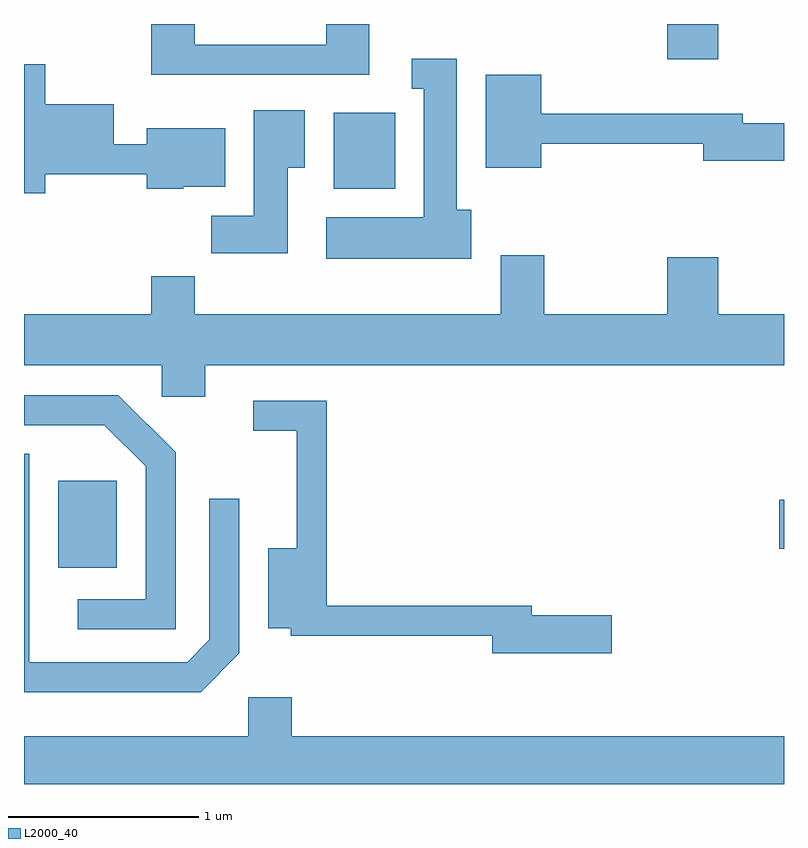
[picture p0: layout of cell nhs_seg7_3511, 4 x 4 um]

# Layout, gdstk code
import gdstk
lib = gdstk.Library(unit=1e-6, precision=1e-09)
def R(c, l, rs):  # rectangles x0, y0, x1, y1
    for r in rs: c.add(gdstk.rectangle(r[:2], r[2:], *l))
def P(c, l, *ps):  # polygons
    for p in ps: c.add(gdstk.Polygon(p, *l))
L2000_40 = (2000, 40)

nhs_seg7_3511 = lib.new_cell('nhs_seg7_3511')
R(nhs_seg7_3511, L2000_40, [(291.791,1795.391,292.099,1795.849), (295.586,1795.491,295.611,1795.749), (293.241,1797.386,293.564,1797.784), (294.996,1798.066,295.264,1798.252)])
P(nhs_seg7_3511, L2000_40, [(293.429,1798.252),(293.201,1798.252),(293.201,1798.144),(292.509,1798.144),(292.509,1798.252),(292.281,1798.252),(292.281,1797.986),(293.429,1797.986)],
  [(293.964,1797.274),(293.889,1797.274),(293.889,1798.069),(293.653,1798.069),(293.653,1797.911),(293.716,1797.911),(293.716,1797.234),(293.201,1797.234),(293.201,1797.016),(293.964,1797.016)],
  [(291.724,1797.461),(292.256,1797.461),(292.256,1797.386),(292.45,1797.386),(292.45,1797.396),(292.669,1797.396),(292.669,1797.704),(292.256,1797.704),(292.256,1797.619),(292.084,1797.619),(292.084,1797.829),(291.724,1797.829),(291.724,1798.039),(291.611,1798.039),(291.611,1797.361),(291.724,1797.361)],
  [(294.334,1797.621),(295.186,1797.621),(295.186,1797.531),(295.611,1797.531),(295.611,1797.729),(295.394,1797.729),(295.394,1797.779),(294.334,1797.779),(294.334,1797.984),(294.041,1797.984),(294.041,1797.496),(294.334,1797.496)],
  [(292.999,1797.496),(293.089,1797.496),(293.089,1797.799),(292.821,1797.799),(292.821,1797.244),(292.596,1797.244),(292.596,1797.046),(292.999,1797.046)],
  [(292.564,1796.456),(295.611,1796.456),(295.611,1796.724),(295.264,1796.724),(295.264,1797.024),(294.996,1797.024),(294.996,1796.724),(294.349,1796.724),(294.349,1797.034),(294.121,1797.034),(294.121,1796.724),(292.509,1796.724),(292.509,1796.924),(292.281,1796.924),(292.281,1796.724),(291.611,1796.724),(291.611,1796.456),(292.336,1796.456),(292.336,1796.291),(292.564,1796.291)],
  [(292.409,1795.997),(292.107,1796.299),(291.611,1796.299),(291.611,1796.141),(292.034,1796.141),(292.251,1795.924),(292.251,1795.224),(291.893,1795.224),(291.893,1795.066),(292.409,1795.066)],
  [(294.704,1795.139),(294.284,1795.139),(294.284,1795.189),(293.204,1795.189),(293.204,1796.269),(292.818,1796.269),(292.818,1796.111),(293.046,1796.111),(293.046,1795.494),(292.896,1795.494),(292.896,1795.071),(293.016,1795.071),(293.016,1795.031),(294.076,1795.031),(294.076,1794.941),(294.704,1794.941)],
  [(292.744,1794.939),(292.744,1795.753),(292.586,1795.753),(292.586,1795.012),(292.469,1794.894),(291.639,1794.894),(291.639,1795.989),(291.611,1795.989),(291.611,1794.736),(292.542,1794.736)],
  [(295.611,1794.504),(293.019,1794.504),(293.019,1794.709),(292.791,1794.709),(292.791,1794.504),(291.611,1794.504),(291.611,1794.252),(295.611,1794.252)])

lib.write_gds('nhs_seg7_3511.gds')
